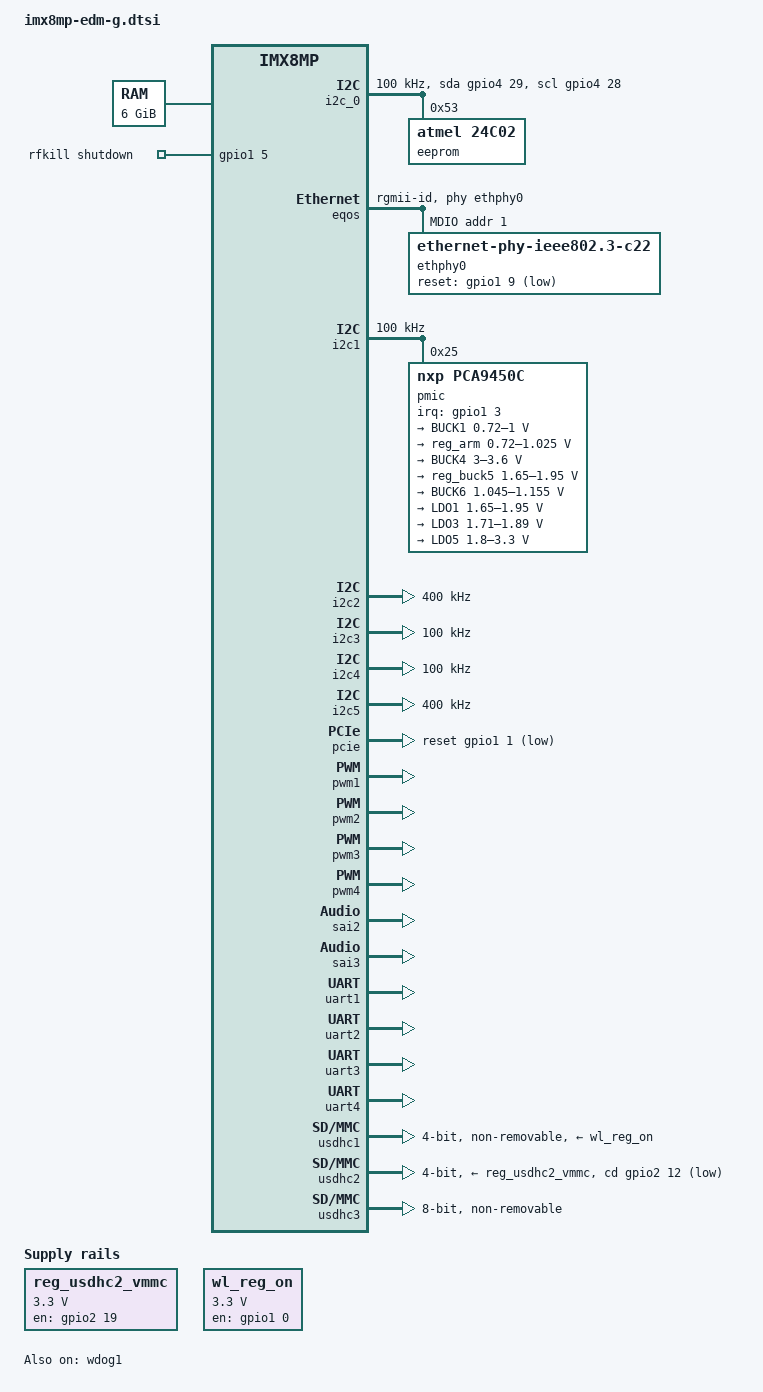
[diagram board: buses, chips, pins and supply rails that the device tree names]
// SPDX-License-Identifier: (GPL-2.0 OR MIT)
/*
 * Copyright 2024 TechNexion Ltd.
 *
 * Author: Ray Chang <ray.chang@technexion.com>
 */

#include "imx8mp.dtsi"

/ {
	chosen {
		stdout-path = &uart2;
	};

	i2c_0: i2c {
		compatible = "i2c-gpio";
		#address-cells = <1>;
		#size-cells = <0>;
		clock-frequency = <100000>;
		pinctrl-0 = <&pinctrl_i2c_brd_conf>;
		pinctrl-names = "default";
		scl-gpios = <&gpio4 28 (GPIO_ACTIVE_HIGH | GPIO_OPEN_DRAIN)>;
		sda-gpios = <&gpio4 29 (GPIO_ACTIVE_HIGH | GPIO_OPEN_DRAIN)>;

		eeprom: eeprom@53 {
			compatible = "atmel,24c02";
			reg = <0x53>;
			pagesize = <16>;
		};
	};

	memory@40000000 {
		reg = <0x0 0x40000000 0 0xc0000000>,
		      <0x1 0x00000000 0 0xc0000000>;
		device_type = "memory";
	};

	reg_usdhc2_vmmc: regulator-usdhc2 {
		compatible = "regulator-fixed";
		off-on-delay-us = <12000>;
		regulator-max-microvolt = <3300000>;
		regulator-min-microvolt = <3300000>;
		regulator-name = "VSD_3V3";
		startup-delay-us = <100>;
		gpio = <&gpio2 19 GPIO_ACTIVE_HIGH>;
		enable-active-high;
	};

	rfkill {
		compatible = "rfkill-gpio";
		name = "rfkill";
		pinctrl-0 = <&pinctrl_bt_ctrl>;
		pinctrl-names = "default";
		radio-type = "bluetooth";
		shutdown-gpios = <&gpio1 5 GPIO_ACTIVE_HIGH>;
	};

	wl_reg_on: regulator-wl-reg-on {
		compatible = "regulator-fixed";
		off-on-delay-us = <20000>;
		pinctrl-0 = <&pinctrl_wifi_ctrl>;
		pinctrl-names = "default";
		regulator-max-microvolt = <3300000>;
		regulator-min-microvolt = <3300000>;
		regulator-name = "WL_REG_ON";
		startup-delay-us = <100>;
		gpio = <&gpio1 0 GPIO_ACTIVE_HIGH>;
		enable-active-high;
	};
};

&A53_0 {
	cpu-supply = <&reg_arm>;
};

&A53_1 {
	cpu-supply = <&reg_arm>;
};

&A53_2 {
	cpu-supply = <&reg_arm>;
};

&A53_3 {
	cpu-supply = <&reg_arm>;
};

&ecspi1 {
	#address-cells = <1>;
	#size-cells = <0>;
	cs-gpios = <&gpio5 9 GPIO_ACTIVE_LOW>;
	num-cs = <1>;
	pinctrl-0 = <&pinctrl_ecspi1 &pinctrl_ecspi1_cs>;
	pinctrl-names = "default";
};

&eqos {
	phy-handle = <&ethphy0>;
	phy-mode = "rgmii-id";
	pinctrl-0 = <&pinctrl_eqos>;
	pinctrl-names = "default";
	snps,force_thresh_dma_mode;
	snps,mtl-rx-config = <&mtl_rx_setup>;
	snps,mtl-tx-config = <&mtl_tx_setup>;
	status = "okay";

	mdio {
		compatible = "snps,dwmac-mdio";
		#address-cells = <1>;
		#size-cells = <0>;

		ethphy0: ethernet-phy@1 {
			compatible = "ethernet-phy-ieee802.3-c22";
			reg = <1>;
			eee-broken-1000t;
			reset-assert-us = <35000>;
			reset-deassert-us = <75000>;
			reset-gpios = <&gpio1 9 GPIO_ACTIVE_LOW>;
			realtek,clkout-disable;
		};
	};

	mtl_rx_setup: rx-queues-config {
		snps,rx-queues-to-use = <5>;

		queue0 {
			snps,dcb-algorithm;
			snps,map-to-dma-channel = <0>;
			snps,priority = <0x1>;
		};

		queue1 {
			snps,dcb-algorithm;
			snps,map-to-dma-channel = <1>;
			snps,priority = <0x2>;
		};

		queue2 {
			snps,dcb-algorithm;
			snps,map-to-dma-channel = <2>;
			snps,priority = <0x4>;
		};

		queue3 {
			snps,dcb-algorithm;
			snps,map-to-dma-channel = <3>;
			snps,priority = <0x8>;
		};

		queue4 {
			snps,dcb-algorithm;
			snps,map-to-dma-channel = <4>;
			snps,priority = <0xf0>;
		};
	};

	mtl_tx_setup: tx-queues-config {
		snps,tx-queues-to-use = <5>;

		queue0 {
			snps,dcb-algorithm;
			snps,priority = <0x1>;
		};

		queue1 {
			snps,dcb-algorithm;
			snps,priority = <0x2>;
		};

		queue2 {
			snps,dcb-algorithm;
			snps,priority = <0x4>;
		};

		queue3 {
			snps,dcb-algorithm;
			snps,priority = <0x8>;
		};

		queue4 {
			snps,dcb-algorithm;
			snps,priority = <0xf0>;
		};
	};
};

&flexcan1 {
	pinctrl-0 = <&pinctrl_flexcan1>;
	pinctrl-names = "default";
};

&flexcan2 {
	pinctrl-0 = <&pinctrl_flexcan2>;
	pinctrl-names = "default";
};

&i2c1 {
	clock-frequency = <100000>;
	pinctrl-0 = <&pinctrl_i2c1>;
	pinctrl-names = "default";
	status = "okay";

	pmic: pmic@25 {
		compatible = "nxp,pca9450c";
		reg = <0x25>;
		interrupt-parent = <&gpio1>;
		interrupts = <3 IRQ_TYPE_LEVEL_LOW>;
		pinctrl-names = "default";
		pinctrl-0 = <&pinctrl_pmic>;

		regulators {
			BUCK1 {
				regulator-always-on;
				regulator-boot-on;
				regulator-max-microvolt = <1000000>;
				regulator-min-microvolt = <720000>;
				regulator-name = "BUCK1";
				regulator-ramp-delay = <3125>;
			};

			reg_arm: BUCK2 {
				regulator-always-on;
				regulator-boot-on;
				regulator-max-microvolt = <1025000>;
				regulator-min-microvolt = <720000>;
				regulator-name = "BUCK2";
				regulator-ramp-delay = <3125>;
				nxp,dvs-run-voltage = <950000>;
				nxp,dvs-standby-voltage = <850000>;
			};

			BUCK4 {
				regulator-always-on;
				regulator-boot-on;
				regulator-max-microvolt = <3600000>;
				regulator-min-microvolt = <3000000>;
				regulator-name = "BUCK4";
			};

			reg_buck5: BUCK5 {
				regulator-always-on;
				regulator-boot-on;
				regulator-max-microvolt = <1950000>;
				regulator-min-microvolt = <1650000>;
				regulator-name = "BUCK5";
			};

			BUCK6 {
				regulator-always-on;
				regulator-boot-on;
				regulator-max-microvolt = <1155000>;
				regulator-min-microvolt = <1045000>;
				regulator-name = "BUCK6";
			};

			LDO1 {
				regulator-always-on;
				regulator-boot-on;
				regulator-max-microvolt = <1950000>;
				regulator-min-microvolt = <1650000>;
				regulator-name = "LDO1";
			};

			LDO3 {
				regulator-always-on;
				regulator-boot-on;
				regulator-max-microvolt = <1890000>;
				regulator-min-microvolt = <1710000>;
				regulator-name = "LDO3";
			};

			LDO5 {
				regulator-always-on;
				regulator-boot-on;
				regulator-max-microvolt = <3300000>;
				regulator-min-microvolt = <1800000>;
				regulator-name = "LDO5";
			};
		};
	};
};

&i2c2 {
	/* I2C_B on EDMG */
	clock-frequency = <400000>;
	pinctrl-0 = <&pinctrl_i2c2>;
	pinctrl-names = "default";
};

&i2c3 {
	clock-frequency = <100000>;
	pinctrl-0 = <&pinctrl_i2c3>;
	pinctrl-names = "default";
};

&i2c4 {
	/* I2C_A on EDMG */
	clock-frequency = <100000>;
	pinctrl-0 = <&pinctrl_i2c4>;
	pinctrl-names = "default";
};

&i2c5 {
	/* I2C_C on EDMG */
	clock-frequency = <400000>;
	pinctrl-0 = <&pinctrl_i2c5>;
	pinctrl-names = "default";
};

&pcie {
	pinctrl-0 = <&pinctrl_pcie>;
	pinctrl-names = "default";
	reset-gpio = <&gpio1 1 GPIO_ACTIVE_LOW>;
};

&pwm1 {
	pinctrl-0 = <&pinctrl_pwm1>;
	pinctrl-names = "default";
	status = "okay";
};

&pwm2 {
	pinctrl-0 = <&pinctrl_pwm2>;
	pinctrl-names = "default";
	status = "okay";
};

&pwm3 {
	pinctrl-0 = <&pinctrl_pwm3>;
	pinctrl-names = "default";
	status = "okay";
};

&pwm4 {
	pinctrl-0 = <&pinctrl_pwm4>;
	pinctrl-names = "default";
	status = "okay";
};

&sai2 {
	/* AUD_B on EDMG */
	assigned-clocks = <&clk IMX8MP_CLK_SAI2>;
	assigned-clock-rates = <12288000>;
	assigned-clock-parents = <&clk IMX8MP_AUDIO_PLL1_OUT>;
	pinctrl-0 = <&pinctrl_sai2>;
	pinctrl-names = "default";
	fsl,sai-mclk-direction-output;
	status = "okay";
};

&sai3 {
	/* AUD_A on EDMG */
	assigned-clocks = <&clk IMX8MP_CLK_SAI3>;
	assigned-clock-rates = <12288000>;
	assigned-clock-parents = <&clk IMX8MP_AUDIO_PLL1_OUT>;
	pinctrl-0 = <&pinctrl_sai3>;
	pinctrl-names = "default";
	fsl,sai-mclk-direction-output;
	status = "okay";
};

&uart1 {
	/* BT */
	assigned-clocks = <&clk IMX8MP_CLK_UART1>;
	assigned-clock-parents = <&clk IMX8MP_SYS_PLL1_80M>;
	pinctrl-0 = <&pinctrl_uart1>;
	pinctrl-names = "default";
	uart-has-rtscts;
	status = "okay";
};

&uart2 {
	/* UART_A on EDMG, console */
	pinctrl-0 = <&pinctrl_uart2>;
	pinctrl-names = "default";
	status = "okay";
};

&uart3 {
	/* UART_C on EDMG */
	assigned-clocks = <&clk IMX8MP_CLK_UART3>;
	assigned-clock-parents = <&clk IMX8MP_SYS_PLL1_80M>;
	pinctrl-0 = <&pinctrl_uart3>;
	pinctrl-names = "default";
	uart-has-rtscts;
	status = "okay";
};

&uart4 {
	/* UART_B on EDMG */
	assigned-clocks = <&clk IMX8MP_CLK_UART4>;
	assigned-clock-parents = <&clk IMX8MP_SYS_PLL1_80M>;
	pinctrl-0 = <&pinctrl_uart4>;
	pinctrl-names = "default";
	uart-has-rtscts;
	status = "okay";
};

&usdhc1 {
	/* WIFI SDIO */
	assigned-clocks = <&clk IMX8MP_CLK_USDHC1>;
	assigned-clock-rates = <200000000>;
	bus-width = <4>;
	keep-power-in-suspend;
	non-removable;
	pinctrl-0 = <&pinctrl_usdhc1>;
	pinctrl-1 = <&pinctrl_usdhc1_100mhz>;
	pinctrl-2 = <&pinctrl_usdhc1_200mhz>;
	pinctrl-names = "default", "state_100mhz", "state_200mhz";
	vmmc-supply = <&wl_reg_on>;
	status = "okay";
};

&usdhc2 {
	/* SD card on baseboard */
	assigned-clocks = <&clk IMX8MP_CLK_USDHC2>;
	assigned-clock-rates = <400000000>;
	bus-width = <4>;
	cd-gpios = <&gpio2 12 GPIO_ACTIVE_LOW>;
	pinctrl-0 = <&pinctrl_usdhc2>, <&pinctrl_usdhc2_gpio>;
	pinctrl-1 = <&pinctrl_usdhc2_100mhz>, <&pinctrl_usdhc2_gpio>;
	pinctrl-2 = <&pinctrl_usdhc2_200mhz>, <&pinctrl_usdhc2_gpio>;
	pinctrl-names = "default", "state_100mhz", "state_200mhz";
	vmmc-supply = <&reg_usdhc2_vmmc>;
	status = "okay";
};

&usdhc3 {
	/* eMMC on SOM */
	assigned-clocks = <&clk IMX8MP_CLK_USDHC3>;
	assigned-clock-rates = <400000000>;
	bus-width = <8>;
	non-removable;
	pinctrl-0 = <&pinctrl_usdhc3>;
	pinctrl-1 = <&pinctrl_usdhc3_100mhz>;
	pinctrl-2 = <&pinctrl_usdhc3_200mhz>;
	pinctrl-names = "default", "state_100mhz", "state_200mhz";
	status = "okay";
};

&wdog1 {
	pinctrl-0 = <&pinctrl_wdog>;
	pinctrl-names = "default";
	fsl,ext-reset-output;
	status = "okay";
};

&iomuxc {
	pinctrl-0 = <&pinctrl_hog>;
	pinctrl-names = "default";

	pinctrl_bt_ctrl: bt-ctrlgrp {
		fsl,pins = <
			MX8MP_IOMUXC_GPIO1_IO05__GPIO1_IO05	0x41 /* BT_REG_ON */
			MX8MP_IOMUXC_SAI1_TXD7__GPIO4_IO19	0x41 /* BT_WAKE_HOST */
		>;
	};

	pinctrl_ecspi1_cs: ecspi1csgrp {
		fsl,pins = <
			MX8MP_IOMUXC_ECSPI1_SS0__GPIO5_IO09	0x40000
		>;
	};

	pinctrl_ecspi1: ecspi1grp {
		fsl,pins = <
			MX8MP_IOMUXC_ECSPI1_SCLK__ECSPI1_SCLK	0x82
			MX8MP_IOMUXC_ECSPI1_MOSI__ECSPI1_MOSI	0x82
			MX8MP_IOMUXC_ECSPI1_MISO__ECSPI1_MISO	0x82
		>;
	};

	pinctrl_eqos: eqosgrp {
		fsl,pins = <
			MX8MP_IOMUXC_ENET_MDC__ENET_QOS_MDC			0x3
			MX8MP_IOMUXC_ENET_MDIO__ENET_QOS_MDIO			0x23
			MX8MP_IOMUXC_ENET_RD0__ENET_QOS_RGMII_RD0		0x91
			MX8MP_IOMUXC_ENET_RD1__ENET_QOS_RGMII_RD1		0x91
			MX8MP_IOMUXC_ENET_RD2__ENET_QOS_RGMII_RD2		0x91
			MX8MP_IOMUXC_ENET_RD3__ENET_QOS_RGMII_RD3		0x91
			MX8MP_IOMUXC_ENET_RXC__CCM_ENET_QOS_CLOCK_GENERATE_RX_CLK	0x91
			MX8MP_IOMUXC_ENET_RX_CTL__ENET_QOS_RGMII_RX_CTL		0x91
			MX8MP_IOMUXC_ENET_TD0__ENET_QOS_RGMII_TD0		0x1f
			MX8MP_IOMUXC_ENET_TD1__ENET_QOS_RGMII_TD1		0x1f
			MX8MP_IOMUXC_ENET_TD2__ENET_QOS_RGMII_TD2		0x1f
			MX8MP_IOMUXC_ENET_TD3__ENET_QOS_RGMII_TD3		0x1f
			MX8MP_IOMUXC_ENET_TX_CTL__ENET_QOS_RGMII_TX_CTL		0x1f
			MX8MP_IOMUXC_ENET_TXC__CCM_ENET_QOS_CLOCK_GENERATE_TX_CLK	0x1f
			MX8MP_IOMUXC_GPIO1_IO09__GPIO1_IO09			0x19
			MX8MP_IOMUXC_GPIO1_IO12__GPIO1_IO12			0x19
		>;
	};

	pinctrl_flexcan1: flexcan1grp {
		fsl,pins = <
			MX8MP_IOMUXC_SAI5_RXD2__CAN1_RX		0x154
			MX8MP_IOMUXC_SAI5_RXD1__CAN1_TX		0x154
		>;
	};

	pinctrl_flexcan2: flexcan2grp {
		fsl,pins = <
			MX8MP_IOMUXC_SAI5_MCLK__CAN2_RX		0x154
			MX8MP_IOMUXC_SAI5_RXD3__CAN2_TX		0x154
		>;
	};

	pinctrl_hog: hoggrp {
		fsl,pins = <
			MX8MP_IOMUXC_HDMI_HPD__HDMIMIX_HDMI_HPD	0x40000019
		>;
	};

	pinctrl_i2c1: i2c1grp {
		fsl,pins = <
			MX8MP_IOMUXC_I2C1_SCL__I2C1_SCL		0x400001a3
			MX8MP_IOMUXC_I2C1_SDA__I2C1_SDA		0x400001a3
		>;
	};

	pinctrl_i2c2: i2c2grp {
		fsl,pins = <
			MX8MP_IOMUXC_I2C2_SCL__I2C2_SCL		0x400001a3
			MX8MP_IOMUXC_I2C2_SDA__I2C2_SDA		0x400001a3
		>;
	};

	pinctrl_i2c3: i2c3grp {
		fsl,pins = <
			MX8MP_IOMUXC_I2C3_SCL__I2C3_SCL		0x400001c3
			MX8MP_IOMUXC_I2C3_SDA__I2C3_SDA		0x400001c3
		>;
	};

	pinctrl_i2c4: i2c4grp {
		fsl,pins = <
			MX8MP_IOMUXC_I2C4_SCL__I2C4_SCL		0x400001c3
			MX8MP_IOMUXC_I2C4_SDA__I2C4_SDA		0x400001c3
		>;
	};

	pinctrl_i2c5: i2c5grp {
		fsl,pins = <
			MX8MP_IOMUXC_SPDIF_TX__I2C5_SCL		0x400001a3
			MX8MP_IOMUXC_SPDIF_RX__I2C5_SDA		0x400001a3
		>;
	};

	pinctrl_i2c_brd_conf: i2cbrdconfgrp {
		fsl,pins = <
			MX8MP_IOMUXC_SAI3_RXFS__GPIO4_IO28	0x1c3 /* BRD_CONF_SCL, bitbang */
			MX8MP_IOMUXC_SAI3_RXC__GPIO4_IO29	0x1c3 /* BRD_CONF_SDA, bitbang */
		>;
	};

	pinctrl_pcie: pciegrp {
		fsl,pins = <
			MX8MP_IOMUXC_GPIO1_IO13__GPIO1_IO13	0x41 /* PCIE CLKREQ */
			MX8MP_IOMUXC_SAI2_RXFS__GPIO4_IO21	0x41 /* PCIE WAKE */
			MX8MP_IOMUXC_GPIO1_IO01__GPIO1_IO01	0x41 /* PCIE RST */
		>;
	};

	pinctrl_pmic: pmicirqgrp {
		fsl,pins = <
			MX8MP_IOMUXC_GPIO1_IO03__GPIO1_IO03	0x41
		>;
	};

	pinctrl_pwm1: pwm1grp {
		fsl,pins = <
			MX8MP_IOMUXC_SPDIF_EXT_CLK__PWM1_OUT	0x116
		>;
	};

	pinctrl_pwm2: pwm2grp {
		fsl,pins = <
			MX8MP_IOMUXC_SAI5_RXD0__PWM2_OUT	0x116
		>;
	};

	pinctrl_pwm3: pwm3grp {
		fsl,pins = <
			MX8MP_IOMUXC_SAI5_RXC__PWM3_OUT		0x116
		>;
	};

	pinctrl_pwm4: pwm4grp {
		fsl,pins = <
			MX8MP_IOMUXC_SAI5_RXFS__PWM4_OUT	0x116
		>;
	};

	pinctrl_sai2: sai2grp {
		fsl,pins = <
			MX8MP_IOMUXC_SAI2_MCLK__AUDIOMIX_SAI2_MCLK	0xd6
			MX8MP_IOMUXC_SAI2_TXFS__AUDIOMIX_SAI2_TX_SYNC	0xd6
			MX8MP_IOMUXC_SAI2_TXC__AUDIOMIX_SAI2_TX_BCLK	0xd6
			MX8MP_IOMUXC_SAI2_RXD0__AUDIOMIX_SAI2_RX_DATA00	0xd6
			MX8MP_IOMUXC_SAI2_TXD0__AUDIOMIX_SAI2_TX_DATA00	0xd6
		>;
	};

	pinctrl_sai3: sai3grp {
		fsl,pins = <
			MX8MP_IOMUXC_SAI3_MCLK__AUDIOMIX_SAI3_MCLK	0xd6
			MX8MP_IOMUXC_SAI3_TXFS__AUDIOMIX_SAI3_TX_SYNC	0xd6
			MX8MP_IOMUXC_SAI3_TXC__AUDIOMIX_SAI3_TX_BCLK	0xd6
			MX8MP_IOMUXC_SAI3_RXD__AUDIOMIX_SAI3_RX_DATA00	0xd6
			MX8MP_IOMUXC_SAI3_TXD__AUDIOMIX_SAI3_TX_DATA00	0xd6
		>;
	};

	pinctrl_uart1: uart1grp {
		fsl,pins = <
			MX8MP_IOMUXC_UART1_RXD__UART1_DCE_RX	0x140
			MX8MP_IOMUXC_UART1_TXD__UART1_DCE_TX	0x140
			MX8MP_IOMUXC_UART3_RXD__UART1_DCE_CTS	0x140
			MX8MP_IOMUXC_UART3_TXD__UART1_DCE_RTS	0x140
		>;
	};

	pinctrl_uart2: uart2grp {
		fsl,pins = <
			MX8MP_IOMUXC_UART2_RXD__UART2_DCE_RX	0x140
			MX8MP_IOMUXC_UART2_TXD__UART2_DCE_TX	0x140
			MX8MP_IOMUXC_UART4_RXD__UART2_DCE_CTS	0x140
			MX8MP_IOMUXC_UART4_TXD__UART2_DCE_RTS	0x140
		>;
	};

	pinctrl_uart3: uart3grp {
		fsl,pins = <
			MX8MP_IOMUXC_SD1_DATA7__UART3_DCE_RX	0x140
			MX8MP_IOMUXC_SD1_DATA6__UART3_DCE_TX	0x140
			MX8MP_IOMUXC_SD1_STROBE__UART3_DCE_CTS	0x140
			MX8MP_IOMUXC_SD1_RESET_B__UART3_DCE_RTS	0x140
		>;
	};

	pinctrl_uart4: uart4grp {
		fsl,pins = <
			MX8MP_IOMUXC_ECSPI2_SCLK__UART4_DCE_RX	0x140
			MX8MP_IOMUXC_ECSPI2_MOSI__UART4_DCE_TX	0x140
			MX8MP_IOMUXC_ECSPI2_MISO__UART4_DCE_CTS	0x140
			MX8MP_IOMUXC_ECSPI2_SS0__UART4_DCE_RTS	0x140
		>;
	};

	pinctrl_usdhc1: usdhc1grp {
		fsl,pins = <
			MX8MP_IOMUXC_SD1_CLK__USDHC1_CLK	0x190
			MX8MP_IOMUXC_SD1_CMD__USDHC1_CMD	0x1d0
			MX8MP_IOMUXC_SD1_DATA0__USDHC1_DATA0	0x1d0
			MX8MP_IOMUXC_SD1_DATA1__USDHC1_DATA1	0x1d0
			MX8MP_IOMUXC_SD1_DATA2__USDHC1_DATA2	0x1d0
			MX8MP_IOMUXC_SD1_DATA3__USDHC1_DATA3	0x1d0
		>;
	};

	pinctrl_usdhc1_100mhz: usdhc1-100mhzgrp {
		fsl,pins = <
			MX8MP_IOMUXC_SD1_CLK__USDHC1_CLK	0x194
			MX8MP_IOMUXC_SD1_CMD__USDHC1_CMD	0x1d4
			MX8MP_IOMUXC_SD1_DATA0__USDHC1_DATA0	0x1d4
			MX8MP_IOMUXC_SD1_DATA1__USDHC1_DATA1	0x1d4
			MX8MP_IOMUXC_SD1_DATA2__USDHC1_DATA2	0x1d4
			MX8MP_IOMUXC_SD1_DATA3__USDHC1_DATA3	0x1d4
		>;
	};

	pinctrl_usdhc1_200mhz: usdhc1-200mhzgrp {
		fsl,pins = <
			MX8MP_IOMUXC_SD1_CLK__USDHC1_CLK	0x196
			MX8MP_IOMUXC_SD1_CMD__USDHC1_CMD	0x1d6
			MX8MP_IOMUXC_SD1_DATA0__USDHC1_DATA0	0x1d6
			MX8MP_IOMUXC_SD1_DATA1__USDHC1_DATA1	0x1d6
			MX8MP_IOMUXC_SD1_DATA2__USDHC1_DATA2	0x1d6
			MX8MP_IOMUXC_SD1_DATA3__USDHC1_DATA3	0x1d6
		>;
	};

	pinctrl_usdhc2: usdhc2grp {
		fsl,pins = <
			MX8MP_IOMUXC_SD2_CLK__USDHC2_CLK	0x190
			MX8MP_IOMUXC_SD2_CMD__USDHC2_CMD	0x1d0
			MX8MP_IOMUXC_SD2_DATA0__USDHC2_DATA0	0x1d0
			MX8MP_IOMUXC_SD2_DATA1__USDHC2_DATA1	0x1d0
			MX8MP_IOMUXC_SD2_DATA2__USDHC2_DATA2	0x1d0
			MX8MP_IOMUXC_SD2_DATA3__USDHC2_DATA3	0x1d0
			MX8MP_IOMUXC_GPIO1_IO04__USDHC2_VSELECT	0xc1
		>;
	};

	pinctrl_usdhc2_100mhz: usdhc2-100mhzgrp {
		fsl,pins = <
			MX8MP_IOMUXC_SD2_CLK__USDHC2_CLK	0x194
			MX8MP_IOMUXC_SD2_CMD__USDHC2_CMD	0x1d4
			MX8MP_IOMUXC_SD2_DATA0__USDHC2_DATA0	0x1d4
			MX8MP_IOMUXC_SD2_DATA1__USDHC2_DATA1	0x1d4
			MX8MP_IOMUXC_SD2_DATA2__USDHC2_DATA2	0x1d4
			MX8MP_IOMUXC_SD2_DATA3__USDHC2_DATA3	0x1d4
			MX8MP_IOMUXC_GPIO1_IO04__USDHC2_VSELECT 0xc1
		>;
	};

	pinctrl_usdhc2_200mhz: usdhc2-200mhzgrp {
		fsl,pins = <
			MX8MP_IOMUXC_SD2_CLK__USDHC2_CLK	0x196
			MX8MP_IOMUXC_SD2_CMD__USDHC2_CMD	0x1d6
			MX8MP_IOMUXC_SD2_DATA0__USDHC2_DATA0	0x1d6
			MX8MP_IOMUXC_SD2_DATA1__USDHC2_DATA1	0x1d6
			MX8MP_IOMUXC_SD2_DATA2__USDHC2_DATA2	0x1d6
			MX8MP_IOMUXC_SD2_DATA3__USDHC2_DATA3	0x1d6
			MX8MP_IOMUXC_GPIO1_IO04__USDHC2_VSELECT 0xc1
		>;
	};

	pinctrl_usdhc2_gpio: usdhc2-gpiogrp {
		fsl,pins = <
			MX8MP_IOMUXC_SD2_CD_B__GPIO2_IO12	0x1c4
			MX8MP_IOMUXC_SD2_RESET_B__GPIO2_IO19	0x41
		>;
	};

	pinctrl_usdhc3: usdhc3grp {
		fsl,pins = <
			MX8MP_IOMUXC_NAND_WE_B__USDHC3_CLK	0x190
			MX8MP_IOMUXC_NAND_WP_B__USDHC3_CMD	0x1d0
			MX8MP_IOMUXC_NAND_DATA04__USDHC3_DATA0	0x1d0
			MX8MP_IOMUXC_NAND_DATA05__USDHC3_DATA1	0x1d0
			MX8MP_IOMUXC_NAND_DATA06__USDHC3_DATA2	0x1d0
			MX8MP_IOMUXC_NAND_DATA07__USDHC3_DATA3	0x1d0
			MX8MP_IOMUXC_NAND_RE_B__USDHC3_DATA4	0x1d0
			MX8MP_IOMUXC_NAND_CE2_B__USDHC3_DATA5	0x1d0
			MX8MP_IOMUXC_NAND_CE3_B__USDHC3_DATA6	0x1d0
			MX8MP_IOMUXC_NAND_CLE__USDHC3_DATA7	0x1d0
			MX8MP_IOMUXC_NAND_CE1_B__USDHC3_STROBE	0x190
		>;
	};

	pinctrl_usdhc3_100mhz: usdhc3-100mhzgrp {
		fsl,pins = <
			MX8MP_IOMUXC_NAND_WE_B__USDHC3_CLK	0x194
			MX8MP_IOMUXC_NAND_WP_B__USDHC3_CMD	0x1d4
			MX8MP_IOMUXC_NAND_DATA04__USDHC3_DATA0	0x1d4
			MX8MP_IOMUXC_NAND_DATA05__USDHC3_DATA1	0x1d4
			MX8MP_IOMUXC_NAND_DATA06__USDHC3_DATA2	0x1d4
			MX8MP_IOMUXC_NAND_DATA07__USDHC3_DATA3	0x1d4
			MX8MP_IOMUXC_NAND_RE_B__USDHC3_DATA4	0x1d4
			MX8MP_IOMUXC_NAND_CE2_B__USDHC3_DATA5	0x1d4
			MX8MP_IOMUXC_NAND_CE3_B__USDHC3_DATA6	0x1d4
			MX8MP_IOMUXC_NAND_CLE__USDHC3_DATA7	0x1d4
			MX8MP_IOMUXC_NAND_CE1_B__USDHC3_STROBE	0x194
		>;
	};

	pinctrl_usdhc3_200mhz: usdhc3-200mhzgrp {
		fsl,pins = <
			MX8MP_IOMUXC_NAND_WE_B__USDHC3_CLK	0x196
			MX8MP_IOMUXC_NAND_WP_B__USDHC3_CMD	0x1d6
			MX8MP_IOMUXC_NAND_DATA04__USDHC3_DATA0	0x1d6
			MX8MP_IOMUXC_NAND_DATA05__USDHC3_DATA1	0x1d6
			MX8MP_IOMUXC_NAND_DATA06__USDHC3_DATA2	0x1d6
			MX8MP_IOMUXC_NAND_DATA07__USDHC3_DATA3	0x1d6
			MX8MP_IOMUXC_NAND_RE_B__USDHC3_DATA4	0x1d6
			MX8MP_IOMUXC_NAND_CE2_B__USDHC3_DATA5	0x1d6
			MX8MP_IOMUXC_NAND_CE3_B__USDHC3_DATA6	0x1d6
			MX8MP_IOMUXC_NAND_CLE__USDHC3_DATA7	0x1d6
			MX8MP_IOMUXC_NAND_CE1_B__USDHC3_STROBE	0x196
		>;
	};

	pinctrl_wdog: wdoggrp {
		fsl,pins = <
			MX8MP_IOMUXC_GPIO1_IO02__WDOG1_WDOG_B	0xc6
		>;
	};

	pinctrl_wifi_ctrl: wifi-ctrlgrp {
		fsl,pins = <
			MX8MP_IOMUXC_GPIO1_IO00__GPIO1_IO00	0x41 /* WL_REG_ON */
			MX8MP_IOMUXC_SAI1_TXD6__GPIO4_IO18	0x41 /* WL_WAKE_HOST */
		>;
	};
};
